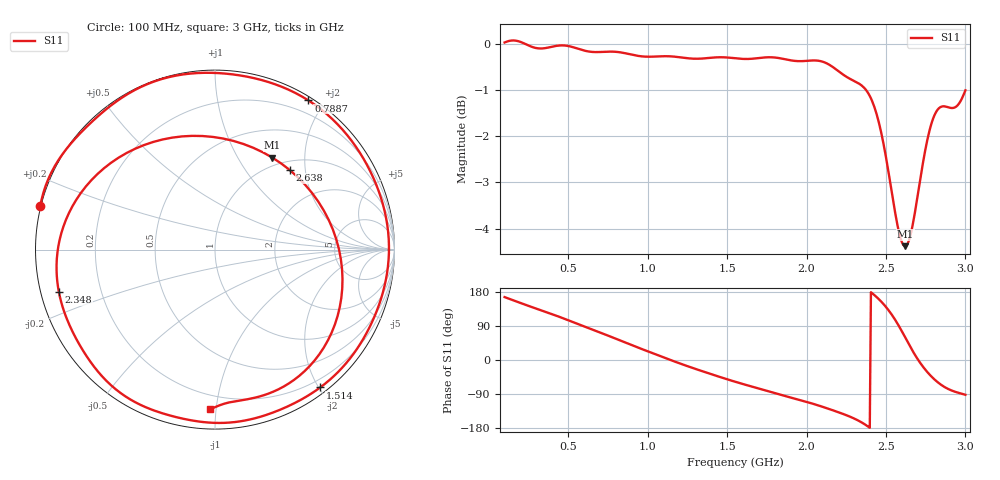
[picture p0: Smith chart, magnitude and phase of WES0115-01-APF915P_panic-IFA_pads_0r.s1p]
! openEMS-z2labs kicad_sim, WES0115-01-APF915P_panic-IFA.kicad_pcb
! ports: 1=SMA5 (F.Cu over B.Cu)
! stackup: file
! copper: sheet, mask: False
# Hz S RI R 50
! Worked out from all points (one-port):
!   401 points, 100 MHz to 3 GHz, reference 50 ohm
!   lowest |S11| = -4.4 dB at 2.623 GHz (marker M1), VSWR 4.05, Z = 43.7 + j70.6 ohm
!   |S11| at or under -10 dB: nowhere
!   S11 on the Smith chart (normalised r, x): 100 MHz: -0.00, +0.12; 788.8 MHz: 0.04, +1.81; 1.514 GHz: 0.09, -2.02; 2.348 GHz: 0.05, -0.13; 2.638 GHz: 1.17, +1.65; 3 GHz: 0.11, -0.96
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1e8  -0.9735 0.2429
2.595e8  -0.7782 0.6192
4.625e8  -0.3571 0.93
6.22e8  0.0812 0.9782
7.8875e8  0.5203 0.8312
8.25e8  0.6054 0.7697
1.0135e9  0.9048 0.3452
1.1875e9  0.9611 -0.1136
1.347e9  0.8354 -0.4814
1.51375e9  0.5866 -0.7677
1.55e9  0.5217 -0.8115
1.7385e9  0.1685 -0.9519
1.9125e9  -0.1725 -0.9434
2.09375e9  -0.5142 -0.8075
2.275e9  -0.7918 -0.4609
2.3475e9  -0.8699 -0.2358
2.42e9  -0.8562 0.0917
2.478e9  -0.6884 0.3872
2.5215e9  -0.4463 0.5613
2.55775e9  -0.1836 0.6306
2.623e9  0.3191 0.5127
2.6375e9  0.4162 0.4435
2.681e9  0.6334 0.1658
2.71725e9  0.7077 -0.1074
2.76075e9  0.668 -0.4173
2.8115e9  0.4993 -0.6771
2.8985e9  0.1798 -0.8339
3e9  -0.0271 -0.8902
